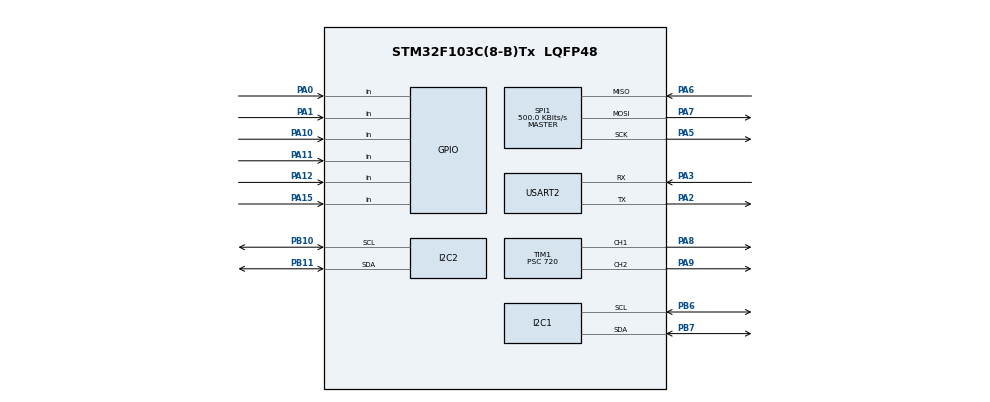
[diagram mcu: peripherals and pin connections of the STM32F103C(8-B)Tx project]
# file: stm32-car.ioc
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Dma.Request0=USART2_RX
Dma.USART2_RX.0.Direction=DMA_PERIPH_TO_MEMORY
Dma.USART2_RX.0.Instance=DMA1_Channel6
Dma.USART2_RX.0.MemDataAlignment=DMA_MDATAALIGN_BYTE
Dma.USART2_RX.0.MemInc=DMA_MINC_ENABLE
Dma.USART2_RX.0.Mode=DMA_NORMAL
Dma.USART2_RX.0.PeriphDataAlignment=DMA_PDATAALIGN_BYTE
Dma.USART2_RX.0.PeriphInc=DMA_PINC_DISABLE
Dma.USART2_RX.0.Priority=DMA_PRIORITY_LOW
Mcu.Family=STM32F1
Mcu.Name=STM32F103C(8-B)Tx
Mcu.Package=LQFP48
NVIC.DMA1_Channel6_IRQn=true\:0\:0\:false\:false\:true\:false\:true\:true
NVIC.PriorityGroup=NVIC_PRIORITYGROUP_4
NVIC.TIM1_BRK_IRQn=true\:0\:0\:false\:false\:true\:true\:true\:true
NVIC.TIM2_IRQn=true\:0\:0\:false\:false\:true\:true\:true\:true
NVIC.USART2_IRQn=true\:0\:0\:false\:false\:true\:true\:true\:true
PA0-WKUP.GPIO_PuPd=GPIO_PULLUP
PA0-WKUP.Signal=GPIO_Input
PA1.GPIO_PuPd=GPIO_PULLUP
PA1.Signal=GPIO_Input
PA10.Signal=GPIO_Input
PA11.Signal=GPIO_Input
PA12.Signal=GPIO_Input
PA13.Mode=Serial_Wire
PA13.Signal=SYS_JTMS-SWDIO
PA14.Mode=Serial_Wire
PA14.Signal=SYS_JTCK-SWCLK
PA15.Signal=GPIO_Input
PA2.Mode=Asynchronous
PA2.Signal=USART2_TX
PA3.Mode=Asynchronous
PA3.Signal=USART2_RX
PA5.Mode=Full_Duplex_Master
PA5.Signal=SPI1_SCK
PA6.Mode=Full_Duplex_Master
PA6.Signal=SPI1_MISO
PA7.Mode=Full_Duplex_Master
PA7.Signal=SPI1_MOSI
PA8.Signal=S_TIM1_CH1
PA9.Signal=S_TIM1_CH2
PB10.Mode=I2C
PB10.Signal=I2C2_SCL
PB11.Mode=I2C
PB11.Signal=I2C2_SDA
PB6.Mode=I2C
PB6.Signal=I2C1_SCL
PB7.Mode=I2C
PB7.Signal=I2C1_SDA
PD0-OSC_IN.Mode=HSE-External-Oscillator
PD0-OSC_IN.Signal=RCC_OSC_IN
PD1-OSC_OUT.Mode=HSE-External-Oscillator
PD1-OSC_OUT.Signal=RCC_OSC_OUT
ProjectManager.HeapSize=0x200
ProjectManager.StackSize=0x400
ProjectManager.TargetToolchain=STM32CubeIDE
RCC.APB1Freq_Value=8000000
RCC.APB2Freq_Value=8000000
SH.S_TIM1_CH1.0=TIM1_CH1,PWM Generation1 CH1
SH.S_TIM1_CH2.0=TIM1_CH2,PWM Generation2 CH2
SPI1.BaudRatePrescaler=SPI_BAUDRATEPRESCALER_16
SPI1.CalculateBaudRate=500.0 KBits/s
SPI1.Direction=SPI_DIRECTION_2LINES
SPI1.Mode=SPI_MODE_MASTER
SPI1.VirtualType=VM_MASTER
TIM1.Channel-PWM\ Generation1\ CH1=TIM_CHANNEL_1
TIM1.Channel-PWM\ Generation2\ CH2=TIM_CHANNEL_2
TIM1.Period=2000
TIM1.Prescaler=720
TIM2.Period=1000
TIM2.Prescaler=7200-1
USART2.VirtualMode=VM_ASYNC
VP_TIM1_VS_ClockSourceINT.Mode=Internal
VP_TIM2_VS_ClockSourceINT.Mode=Internal
board=custom

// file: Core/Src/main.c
/* USER CODE BEGIN Header */
/**
  ******************************************************************************
  * @file           : main.c
  * @brief          : Main program body
  ******************************************************************************
  * @attention
  *
  * Copyright (c) 2024 STMicroelectronics.
  * All rights reserved.
  *
  * This software is licensed under terms that can be found in the LICENSE file
  * in the root directory of this software component.
  * If no LICENSE file comes with this software, it is provided AS-IS.
  *
  ******************************************************************************
  */
/* USER CODE END Header */
#include "main.h"

/* USER CODE BEGIN Includes */
#include "stdio.h"
#include "rc522.h"
#include "lcd1602_i2c.h"
#include "string.h"
#include "stdlib.h"

/* USER CODE END Includes */

/* USER CODE BEGIN PTD */

unsigned char CardID[5];    // bien luu gia tri ID cua the RFID
char Send_UART[28];
//unsigned char MyID[8][5] = {{0x73, 0x35, 0xB2, 0x06, 0xF2},{0x53,0xC0,0xE1,0xAD,0XDF},{0x03,0x2F,0x76,0x94,0XCE},{0x73,0x86,0x7A,0xA7,0X28},
//{0x53,0x31,0x31,0x95,0XC6},{0xC3,0x95,0x6D,0x94,0XAF},{0x33,0x8E,0x93,0xA7,0X89},{0x83,0x28,0x8D,0xA7,0X81}};	  // luu ID cac the duoc dinh danh
//uint8_t location[10] = {0};

//uint16_t Count_Close = 0, check_card = 0,Count_Open = 0;     // bien check_card xem ID the co hop le khong

char buffer1[16];   // luu gia tri gio phut giay
char buffer2[16];   // luu gia tri ngay thang nam
char buffer4[2];
uint8_t Setup_Time[7];

/* USER CODE END PTD */

/* USER CODE BEGIN PD */

#define RX_SIZE 24
uint8_t receive_data[RX_SIZE] = {0};    // luu gia tri gui den
uint8_t size = 0;

/* USER CODE END PD */

I2C_HandleTypeDef hi2c1;
I2C_HandleTypeDef hi2c2;

SPI_HandleTypeDef hspi1;

TIM_HandleTypeDef htim1;
TIM_HandleTypeDef htim2;

UART_HandleTypeDef huart2;
DMA_HandleTypeDef hdma_usart2_rx;

void SystemClock_Config(void);
static void MX_GPIO_Init(void);
static void MX_DMA_Init(void);
static void MX_I2C1_Init(void);
static void MX_I2C2_Init(void);
static void MX_SPI1_Init(void);
static void MX_TIM1_Init(void);
static void MX_TIM2_Init(void);
static void MX_USART2_UART_Init(void);

/* USER CODE BEGIN 0 */

#define DS3231_ADDRESS 0xD0

uint8_t TIME_CLOSE = 0;

uint8_t decToBcd(int val)
{
  return (uint8_t)( (val/10*16) + (val%10) );
}
// Convert binary coded decimal to normal decimal numbers
int bcdToDec(uint8_t val)
{
  return (int)( (val/16*10) + (val%16) );
}

typedef struct{
	uint8_t seconds;
	uint8_t minutes;
	uint8_t hour;
	uint8_t dayofweek;
	uint8_t dayofmonth;
	uint8_t month;
	uint8_t year;
} TIME;

TIME time;

void Get_Time (void)  // ham lay gia tri thoi gian tu DS3231
{
	uint8_t get_time[7];
	HAL_I2C_Mem_Read(&hi2c2, DS3231_ADDRESS, 0x00, 1, get_time, 7, 1000);
	time.seconds = bcdToDec(get_time[0]);
	time.minutes = bcdToDec(get_time[1]);
	time.hour = bcdToDec(get_time[2]);
	time.dayofweek = bcdToDec(get_time[3]);
	time.dayofmonth = bcdToDec(get_time[4]);
	time.month = bcdToDec(get_time[5]);
	time.year = bcdToDec(get_time[6]);
}

// ham setup gia tri ngay thang nam (fix cung)
void Set_Time (uint8_t sec, uint8_t min, uint8_t hour, uint8_t dow, uint8_t dom, uint8_t month, uint8_t year)
{
	uint8_t set_time[7];
	set_time[0] = decToBcd(sec);
	set_time[1] = decToBcd(min);
	set_time[2] = decToBcd(hour);
	set_time[3] = decToBcd(dow);
	set_time[4] = decToBcd(dom);
	set_time[5] = decToBcd(month);
	set_time[6] = decToBcd(year);

	HAL_I2C_Mem_Write(&hi2c2, DS3231_ADDRESS, 0x00, 1, set_time, 7, 1000);

}

uint8_t MFRC522_Check(uint8_t* id);
uint8_t MFRC522_Compare(uint8_t* CardID, uint8_t* CompareID);
void MFRC522_WriteRegister(uint8_t addr, uint8_t val);
uint8_t MFRC522_ReadRegister(uint8_t addr);
void MFRC522_SetBitMask(uint8_t reg, uint8_t mask);
void MFRC522_ClearBitMask(uint8_t reg, uint8_t mask);
uint8_t MFRC522_Request(uint8_t reqMode, uint8_t* TagType);
uint8_t MFRC522_ToCard(uint8_t command, uint8_t* sendData, uint8_t sendLen, uint8_t* backData, uint16_t* backLen);
uint8_t MFRC522_Anticoll(uint8_t* serNum);
void MFRC522_CalulateCRC(uint8_t* pIndata, uint8_t len, uint8_t* pOutData);
uint8_t MFRC522_SelectTag(uint8_t* serNum);
uint8_t MFRC522_Auth(uint8_t authMode, uint8_t BlockAddr, uint8_t* Sectorkey, uint8_t* serNum);
uint8_t MFRC522_Read(uint8_t blockAddr, uint8_t* recvData);
uint8_t MFRC522_Write(uint8_t blockAddr, uint8_t* writeData);
void MFRC522_Init(void);
void MFRC522_Reset(void);
void MFRC522_AntennaOn(void);
void MFRC522_AntennaOff(void);
void MFRC522_Halt(void);

void Set_Time_UART(char* str);
void RESET_CardID(void);
void Display_Time(void);
void Set_Barrier();
void Check_CardID_IN(void);
void Check_CardID_OUT(void);
void Check_CardID_OUT(void);
void SET_TIME_CLOSE(char* str);
void Cal_money(void);
void Check_Car_In(void);

/* USER CODE END 0 */

int main(void)
{

  /* MCU Configuration--------------------------------------------------------*/

  /* Reset of all peripherals, Initializes the Flash interface and the Systick. */
  HAL_Init();

  /* Configure the system clock */
  SystemClock_Config();

  /* Initialize all configured peripherals */
  MX_GPIO_Init();
  MX_DMA_Init();
  MX_I2C1_Init();
  MX_I2C2_Init();
  MX_SPI1_Init();
  MX_TIM1_Init();
  MX_TIM2_Init();
  MX_USART2_UART_Init();
  /* USER CODE BEGIN 2 */

MFRC522_Init();

	HAL_TIM_PWM_Start(&htim1,TIM_CHANNEL_1);
	HAL_TIM_PWM_Start(&htim1,TIM_CHANNEL_2);
	HAL_TIM_Base_Start_IT(&htim2);
	LCD1602_Init(&hi2c1);
	LCD1602_SetFunction(BACKLIGHT_ON);

	HAL_UARTEx_ReceiveToIdle_DMA(&huart2, receive_data, RX_SIZE);
	__HAL_DMA_DISABLE_IT(&hdma_usart2_rx, DMA_IT_HT);

	HAL_UART_Receive_DMA(&huart2,receive_data,24);

	LCD1602_SetCursor(0, 0);
	LCD1602_SendString(" CHECK CARD ID");

	HAL_Delay(500);
	uwTick = 0;

  /* USER CODE END 2 */

  /* Infinite loop */
  while (1)
  {

    /* USER CODE BEGIN 3 */
//		Get_Time();
//		Display_Time();
		if(HAL_GPIO_ReadPin(GPIOA,GPIO_PIN_0) == 0){
			Set_Barrier();
			Check_CardID_IN();

		}
		if(HAL_GPIO_ReadPin(GPIOA,GPIO_PIN_0) == 1){
			Set_Barrier();
			Check_CardID_OUT();

		}

//		Close_Barrier(TIME_CLOSE);
  }
  /* USER CODE END 3 */
}

void SystemClock_Config(void)
{
  RCC_OscInitTypeDef RCC_OscInitStruct = {0};
  RCC_ClkInitTypeDef RCC_ClkInitStruct = {0};

  /** Initializes the RCC Oscillators according to the specified parameters
  * in the RCC_OscInitTypeDef structure.
  */
  RCC_OscInitStruct.OscillatorType = RCC_OSCILLATORTYPE_HSI;
  RCC_OscInitStruct.HSIState = RCC_HSI_ON;
  RCC_OscInitStruct.HSICalibrationValue = RCC_HSICALIBRATION_DEFAULT;
  RCC_OscInitStruct.PLL.PLLState = RCC_PLL_NONE;
  if (HAL_RCC_OscConfig(&RCC_OscInitStruct) != HAL_OK)
  {
    Error_Handler();
  }

  /** Initializes the CPU, AHB and APB buses clocks
  */
  RCC_ClkInitStruct.ClockType = RCC_CLOCKTYPE_HCLK|RCC_CLOCKTYPE_SYSCLK
                              |RCC_CLOCKTYPE_PCLK1|RCC_CLOCKTYPE_PCLK2;
  RCC_ClkInitStruct.SYSCLKSource = RCC_SYSCLKSOURCE_HSI;
  RCC_ClkInitStruct.AHBCLKDivider = RCC_SYSCLK_DIV1;
  RCC_ClkInitStruct.APB1CLKDivider = RCC_HCLK_DIV1;
  RCC_ClkInitStruct.APB2CLKDivider = RCC_HCLK_DIV1;

  if (HAL_RCC_ClockConfig(&RCC_ClkInitStruct, FLASH_LATENCY_0) != HAL_OK)
  {
    Error_Handler();
  }
}

static void MX_I2C1_Init(void)
{

  hi2c1.Instance = I2C1;
  hi2c1.Init.ClockSpeed = 100000;
  hi2c1.Init.DutyCycle = I2C_DUTYCYCLE_2;
  hi2c1.Init.OwnAddress1 = 0;
  hi2c1.Init.AddressingMode = I2C_ADDRESSINGMODE_7BIT;
  hi2c1.Init.DualAddressMode = I2C_DUALADDRESS_DISABLE;
  hi2c1.Init.OwnAddress2 = 0;
  hi2c1.Init.GeneralCallMode = I2C_GENERALCALL_DISABLE;
  hi2c1.Init.NoStretchMode = I2C_NOSTRETCH_DISABLE;
  if (HAL_I2C_Init(&hi2c1) != HAL_OK)
  {
    Error_Handler();
  }

}

static void MX_I2C2_Init(void)
{

  hi2c2.Instance = I2C2;
  hi2c2.Init.ClockSpeed = 100000;
  hi2c2.Init.DutyCycle = I2C_DUTYCYCLE_2;
  hi2c2.Init.OwnAddress1 = 0;
  hi2c2.Init.AddressingMode = I2C_ADDRESSINGMODE_7BIT;
  hi2c2.Init.DualAddressMode = I2C_DUALADDRESS_DISABLE;
  hi2c2.Init.OwnAddress2 = 0;
  hi2c2.Init.GeneralCallMode = I2C_GENERALCALL_DISABLE;
  hi2c2.Init.NoStretchMode = I2C_NOSTRETCH_DISABLE;
  if (HAL_I2C_Init(&hi2c2) != HAL_OK)
  {
    Error_Handler();
  }

}

static void MX_SPI1_Init(void)
{

  /* SPI1 parameter configuration*/
  hspi1.Instance = SPI1;
  hspi1.Init.Mode = SPI_MODE_MASTER;
  hspi1.Init.Direction = SPI_DIRECTION_2LINES;
  hspi1.Init.DataSize = SPI_DATASIZE_8BIT;
  hspi1.Init.CLKPolarity = SPI_POLARITY_LOW;
  hspi1.Init.CLKPhase = SPI_PHASE_1EDGE;
  hspi1.Init.NSS = SPI_NSS_SOFT;
  hspi1.Init.BaudRatePrescaler = SPI_BAUDRATEPRESCALER_16;
  hspi1.Init.FirstBit = SPI_FIRSTBIT_MSB;
  hspi1.Init.TIMode = SPI_TIMODE_DISABLE;
  hspi1.Init.CRCCalculation = SPI_CRCCALCULATION_DISABLE;
  hspi1.Init.CRCPolynomial = 10;
  if (HAL_SPI_Init(&hspi1) != HAL_OK)
  {
    Error_Handler();
  }

}

static void MX_TIM1_Init(void)
{

  TIM_ClockConfigTypeDef sClockSourceConfig = {0};
  TIM_MasterConfigTypeDef sMasterConfig = {0};
  TIM_OC_InitTypeDef sConfigOC = {0};
  TIM_BreakDeadTimeConfigTypeDef sBreakDeadTimeConfig = {0};

  htim1.Instance = TIM1;
  htim1.Init.Prescaler = 720;
  htim1.Init.CounterMode = TIM_COUNTERMODE_UP;
  htim1.Init.Period = 2000;
  htim1.Init.ClockDivision = TIM_CLOCKDIVISION_DIV1;
  htim1.Init.RepetitionCounter = 0;
  htim1.Init.AutoReloadPreload = TIM_AUTORELOAD_PRELOAD_DISABLE;
  if (HAL_TIM_Base_Init(&htim1) != HAL_OK)
  {
    Error_Handler();
  }
  sClockSourceConfig.ClockSource = TIM_CLOCKSOURCE_INTERNAL;
  if (HAL_TIM_ConfigClockSource(&htim1, &sClockSourceConfig) != HAL_OK)
  {
    Error_Handler();
  }
  if (HAL_TIM_PWM_Init(&htim1) != HAL_OK)
  {
    Error_Handler();
  }
  sMasterConfig.MasterOutputTrigger = TIM_TRGO_RESET;
  sMasterConfig.MasterSlaveMode = TIM_MASTERSLAVEMODE_DISABLE;
  if (HAL_TIMEx_MasterConfigSynchronization(&htim1, &sMasterConfig) != HAL_OK)
  {
    Error_Handler();
  }
  sConfigOC.OCMode = TIM_OCMODE_PWM1;
  sConfigOC.Pulse = 0;
  sConfigOC.OCPolarity = TIM_OCPOLARITY_HIGH;
  sConfigOC.OCNPolarity = TIM_OCNPOLARITY_HIGH;
  sConfigOC.OCFastMode = TIM_OCFAST_DISABLE;
  sConfigOC.OCIdleState = TIM_OCIDLESTATE_RESET;
  sConfigOC.OCNIdleState = TIM_OCNIDLESTATE_RESET;
  if (HAL_TIM_PWM_ConfigChannel(&htim1, &sConfigOC, TIM_CHANNEL_1) != HAL_OK)
  {
    Error_Handler();
  }
  if (HAL_TIM_PWM_ConfigChannel(&htim1, &sConfigOC, TIM_CHANNEL_2) != HAL_OK)
  {
    Error_Handler();
  }
  sBreakDeadTimeConfig.OffStateRunMode = TIM_OSSR_DISABLE;
  sBreakDeadTimeConfig.OffStateIDLEMode = TIM_OSSI_DISABLE;
  sBreakDeadTimeConfig.LockLevel = TIM_LOCKLEVEL_OFF;
  sBreakDeadTimeConfig.DeadTime = 0;
  sBreakDeadTimeConfig.BreakState = TIM_BREAK_DISABLE;
  sBreakDeadTimeConfig.BreakPolarity = TIM_BREAKPOLARITY_HIGH;
  sBreakDeadTimeConfig.AutomaticOutput = TIM_AUTOMATICOUTPUT_DISABLE;
  if (HAL_TIMEx_ConfigBreakDeadTime(&htim1, &sBreakDeadTimeConfig) != HAL_OK)
  {
    Error_Handler();
  }
  HAL_TIM_MspPostInit(&htim1);

}

static void MX_TIM2_Init(void)
{

  TIM_ClockConfigTypeDef sClockSourceConfig = {0};
  TIM_MasterConfigTypeDef sMasterConfig = {0};

  htim2.Instance = TIM2;
  htim2.Init.Prescaler = 7200-1;
  htim2.Init.CounterMode = TIM_COUNTERMODE_UP;
  htim2.Init.Period = 1000;
  htim2.Init.ClockDivision = TIM_CLOCKDIVISION_DIV1;
  htim2.Init.AutoReloadPreload = TIM_AUTORELOAD_PRELOAD_DISABLE;
  if (HAL_TIM_Base_Init(&htim2) != HAL_OK)
  {
    Error_Handler();
  }
  sClockSourceConfig.ClockSource = TIM_CLOCKSOURCE_INTERNAL;
  if (HAL_TIM_ConfigClockSource(&htim2, &sClockSourceConfig) != HAL_OK)
  {
    Error_Handler();
  }
  sMasterConfig.MasterOutputTrigger = TIM_TRGO_RESET;
  sMasterConfig.MasterSlaveMode = TIM_MASTERSLAVEMODE_DISABLE;
  if (HAL_TIMEx_MasterConfigSynchronization(&htim2, &sMasterConfig) != HAL_OK)
  {
    Error_Handler();
  }

}

static void MX_USART2_UART_Init(void)
{

  huart2.Instance = USART2;
  huart2.Init.BaudRate = 115200;
  huart2.Init.WordLength = UART_WORDLENGTH_8B;
  huart2.Init.StopBits = UART_STOPBITS_1;
  huart2.Init.Parity = UART_PARITY_NONE;
  huart2.Init.Mode = UART_MODE_TX_RX;
  huart2.Init.HwFlowCtl = UART_HWCONTROL_NONE;
  huart2.Init.OverSampling = UART_OVERSAMPLING_16;
  if (HAL_UART_Init(&huart2) != HAL_OK)
  {
    Error_Handler();
  }

}

static void MX_DMA_Init(void)
{

  /* DMA controller clock enable */
  __HAL_RCC_DMA1_CLK_ENABLE();

  /* DMA interrupt init */
  /* DMA1_Channel6_IRQn interrupt configuration */
  HAL_NVIC_SetPriority(DMA1_Channel6_IRQn, 0, 0);
  HAL_NVIC_EnableIRQ(DMA1_Channel6_IRQn);

}

static void MX_GPIO_Init(void)
{
  GPIO_InitTypeDef GPIO_InitStruct = {0};

  /* GPIO Ports Clock Enable */
  __HAL_RCC_GPIOD_CLK_ENABLE();
  __HAL_RCC_GPIOA_CLK_ENABLE();
  __HAL_RCC_GPIOB_CLK_ENABLE();

  /*Configure GPIO pins : PA0 PA1 */
  GPIO_InitStruct.Pin = GPIO_PIN_0|GPIO_PIN_1;
  GPIO_InitStruct.Mode = GPIO_MODE_INPUT;
  GPIO_InitStruct.Pull = GPIO_PULLUP;
  HAL_GPIO_Init(GPIOA, &GPIO_InitStruct);

  /*Configure GPIO pins : PA10 PA11 PA12 PA15 */
  GPIO_InitStruct.Pin = GPIO_PIN_10|GPIO_PIN_11|GPIO_PIN_12|GPIO_PIN_15;
  GPIO_InitStruct.Mode = GPIO_MODE_INPUT;
  GPIO_InitStruct.Pull = GPIO_NOPULL;
  HAL_GPIO_Init(GPIOA, &GPIO_InitStruct);

}

/* USER CODE BEGIN 4 */

void Check_CardID_IN(void)
{
	LCD1602_SetCursor(0, 1);
	LCD1602_SendString("CAR IN");
	if (MFRC522_Check(CardID) == MI_OK)
		{
			strcpy(Send_UART, "IN:");
			for(uint8_t i = 0; i<4; i++){
				sprintf(Send_UART + strlen(Send_UART),"%02x", CardID[i]);
			}
			for(int i = 0; i < 14; i++){
				if(Send_UART[i]>96 && Send_UART[i]<123){
					Send_UART[i]-=32;
				}
			}
			HAL_UART_Transmit_IT(&huart2,Send_UART,12);
			receive_data[0] = 0x00;
			Check_Car_In();
			RESET_CardID();
			HAL_Delay(2000);
		}
}

void Check_CardID_OUT(void)
{
	LCD1602_SetCursor(0, 1);
	LCD1602_SendString("     CAR OUT    ");
	if (MFRC522_Check(CardID) == MI_OK)
		{
			strcpy(Send_UART, "OUT:");
			for(uint8_t i = 0; i<4; i++){
				sprintf(Send_UART + strlen(Send_UART),"%02x", CardID[i]);
			}
			for(int i = 0; i < 14; i++){
				if(Send_UART[i]>96 && Send_UART[i]<123){
					Send_UART[i]-=32;
				}
			}
			HAL_UART_Transmit_IT(&huart2,Send_UART,11);
			receive_data[0] = 0x00;
			Cal_money();
			RESET_CardID();
			HAL_Delay(2000);
		}
}

void Set_Time_UART(char* str)
{
	strncpy(buffer4, str+1, 2 );
	Setup_Time[6] = (uint8_t)atoi(buffer4);
	strncpy(buffer4, str+4, 2 );
	Setup_Time[5] = (uint8_t)atoi(buffer4);
	strncpy(buffer4, str+7, 2 );
	Setup_Time[4] = (uint8_t)atoi(buffer4);
	strncpy(buffer4, str+10, 2 );
	Setup_Time[3] = (uint8_t)atoi(buffer4);
	strncpy(buffer4, str+13, 2 );
	Setup_Time[2] = (uint8_t)atoi(buffer4);
	strncpy(buffer4, str+16, 2 );
	Setup_Time[1] = (uint8_t)atoi(buffer4);
	strncpy(buffer4, str+19, 2 );
	Setup_Time[0] = (uint8_t)atoi(buffer4);
	strncpy(buffer4, str+22, 2 );
	TIME_CLOSE = (uint8_t)atoi(buffer4);
	Set_Time(Setup_Time[0],Setup_Time[1],Setup_Time[2],Setup_Time[3],Setup_Time[4],Setup_Time[5],Setup_Time[6]);
	receive_data[0] = 0x00;

}

void Display_Time(void)
{
	sprintf(buffer1 ,"TIME: %02d:%02d:%02d", time.hour, time.minutes, time.seconds);
	LCD1602_SetCursor(0,1);
	LCD1602_SendString(buffer1);

//	sprintf(buffer2 ,"\nDATE: %02d-%02d-%02d\n", time.dayofmonth, time.month, time.year);
//	LCD1602_SetCursor(0,1);
//	LCD1602_SendString(buffer2+1);
}

void RESET_CardID(void)   // RESET cac phan tu trong mang CardID
{
	for(uint8_t i = 0; i < 5; i++)
	{
		CardID[i] = 0x00;
	}
}

void Set_Barrier()
{
	if(HAL_GPIO_ReadPin(GPIOA,GPIO_PIN_0)==1){
		__HAL_TIM_SET_COMPARE(&htim1,TIM_CHANNEL_1,100);
		__HAL_TIM_SET_COMPARE(&htim1,TIM_CHANNEL_2,200);
	}
	if(HAL_GPIO_ReadPin(GPIOA,GPIO_PIN_0)==0){
		__HAL_TIM_SET_COMPARE(&htim1,TIM_CHANNEL_1,200);
		__HAL_TIM_SET_COMPARE(&htim1,TIM_CHANNEL_2,100);
	}
}

void Cal_money(void)
{
	LCD1602_SetFunction(CLEAR_DISPLAY);
	LCD1602_SetCursor(0,0);
	LCD1602_SendString(" WAITTING....");
	uint16_t delayTime = 10;
	while(receive_data[0] == 0)
	{
		HAL_Delay(10);
		delayTime+=10;
		if(delayTime>7000){
			break;
		}
	}
	if(receive_data[0] =='M'){
		uint32_t money = 0;
		uint8_t i = 10, Time_IN[3] = {0};
		strncpy(buffer4, (char*)receive_data+1, 2 );
		Time_IN[0] = (uint8_t)atoi(buffer4);
		strncpy(buffer4, (char*)receive_data+4, 2 );
		Time_IN[1] = (uint8_t)atoi(buffer4);
		strncpy(buffer4, (char*)receive_data+7, 2 );
		Time_IN[2] = (uint8_t)atoi(buffer4);

		while(receive_data[i]!='E'){
			money = money*10 + (receive_data[i]-48);
			i++;

		}
		memset(buffer1,0x00,16);
		LCD1602_SetFunction(CLEAR_DISPLAY);
		sprintf(buffer1 ,"  IN:%02d:%02d:%02d", Time_IN[0], Time_IN[1], Time_IN[2]);
		LCD1602_SetCursor(0,0);
		LCD1602_SendString(buffer1);
		memset(buffer1,0x00,16);
		sprintf(buffer1 ,"TOTAL: %ld", money);
		LCD1602_SetCursor(0,1);
		LCD1602_SendString(buffer1);
		while(HAL_GPIO_ReadPin(GPIOA,GPIO_PIN_1) == 1){
			HAL_Delay(20);
		}
		__HAL_TIM_SET_COMPARE(&htim1,TIM_CHANNEL_2,100);// mo barrier 2 cho xe ra
		HAL_Delay(5000); // thoi gian xe ra ngoai
		while(HAL_GPIO_ReadPin(GPIOA,GPIO_PIN_10) == 0||HAL_GPIO_ReadPin(GPIOA,GPIO_PIN_11) == 0){
			HAL_Delay(100);
		}
		__HAL_TIM_SET_COMPARE(&htim1,TIM_CHANNEL_2,200);//khong con xe thi dong barrier 2
		memset(receive_data,0x00,24);
	} else if (receive_data[0] =='N') {
		sprintf(buffer1 ," NOT FOUND CARD");
		LCD1602_SetCursor(0,0);
		LCD1602_SendString(buffer1);
		HAL_Delay(3000);
		memset(receive_data,0x00,24);
	} else if (receive_data[0] =='F') {
		sprintf(buffer1 ,"FORBIDDEN!");
		LCD1602_SetCursor(0,0);
		LCD1602_SendString(buffer1);
		HAL_Delay(3000);
		memset(receive_data,0x00,24);
	}  else if (receive_data[0] =='C') {
		sprintf(buffer1 ,"CONFLICT");
		LCD1602_SetCursor(0,0);
		LCD1602_SendString(buffer1);
		HAL_Delay(3000);
		memset(receive_data,0x00,24);
	}  else if (receive_data[0] =='U') {
		sprintf(buffer1 ,"UNAUTHORIZED");
		LCD1602_SetCursor(0,0);
		LCD1602_SendString(buffer1);
		HAL_Delay(3000);
		memset(receive_data,0x00,24);
	} else {
		sprintf(buffer1 ,"TIME OUT");
		LCD1602_SetCursor(0,0);
		LCD1602_SendString(buffer1);
		sprintf(buffer1 ,"PLEASE RECHECK");
		LCD1602_SetCursor(0,1);
		LCD1602_SendString(buffer1);
		HAL_Delay(3000);
		memset(receive_data,0x00,24);
	}
	receive_data[0] = 0x00;
	LCD1602_SetFunction(CLEAR_DISPLAY);
	LCD1602_SetCursor(0, 0);
	LCD1602_SendString(" CHECK CARD ID");
}

void Check_Car_In(void){
	LCD1602_SetFunction(CLEAR_DISPLAY);
	LCD1602_SetCursor(0,0);
	LCD1602_SendString(" WAITTING....");

	uint16_t delayTime = 10;
	while(receive_data[0] == 0)
	{
		HAL_Delay(10);
		delayTime+=10;
		if(delayTime>7000){
			break;
		}
	}
	if(receive_data[0] =='L'){
		char location[5] = {0};
		for(uint8_t i = 9; i < 14; i++){
			location[i-9] = receive_data[i];
		}
		LCD1602_SetFunction(CLEAR_DISPLAY);
		LCD1602_SetCursor(2,0);
		LCD1602_SendString("LOCATION CAR");
		LCD1602_SetCursor(6,1);
		LCD1602_SendString(location);
		__HAL_TIM_SET_COMPARE(&htim1,TIM_CHANNEL_1,100);//mo barrier 1 cho xe vao
		HAL_Delay(5000);  // thoi gian xe di qua barrier
		while(HAL_GPIO_ReadPin(GPIOA,GPIO_PIN_12) == 0||HAL_GPIO_ReadPin(GPIOA,GPIO_PIN_11) == 0){
			HAL_Delay(100);
		}
		__HAL_TIM_SET_COMPARE(&htim1,TIM_CHANNEL_1,200);// khi khong con xe dong barrier 1
		memset(receive_data,0x00,24);
	} else if (receive_data[0] =='N') {
		sprintf(buffer1 ," NOT FOUND CARD");
		LCD1602_SetCursor(0,0);
		LCD1602_SendString(buffer1);
		HAL_Delay(3000);
		memset(receive_data,0x00,24);
	} else if (receive_data[0] =='F') {
		sprintf(buffer1 ,"FORBIDDEN!");
		LCD1602_SetCursor(0,0);
		LCD1602_SendString(buffer1);
		HAL_Delay(3000);
		memset(receive_data,0x00,24);
	}  else if (receive_data[0] =='C') {
		sprintf(buffer1 ,"CONFLICT");
		LCD1602_SetCursor(0,0);
		LCD1602_SendString(buffer1);
		HAL_Delay(3000);
		memset(receive_data,0x00,24);
	}  else if (receive_data[0] =='U') {
		sprintf(buffer1 ,"UNAUTHORIZED");
		LCD1602_SetCursor(0,0);
		LCD1602_SendString(buffer1);
		HAL_Delay(3000);
		memset(receive_data,0x00,24);
	} else {
		sprintf(buffer1 ,"TIME OUT");
		LCD1602_SetCursor(0,0);
		LCD1602_SendString(buffer1);
		sprintf(buffer1 ,"PLEASE RECHECK");
		LCD1602_SetCursor(0,1);
		LCD1602_SendString(buffer1);
		HAL_Delay(3000);
		memset(receive_data,0x00,24);
	}
	receive_data[0] = 0x00;
	LCD1602_SetFunction(CLEAR_DISPLAY);
	LCD1602_SetCursor(0, 0);
	LCD1602_SendString(" CHECK CARD ID");
}

//void HAL_TIM_PeriodElapsedCallback(TIM_HandleTypeDef *htim)    // thoi gian ngat la 100ms
//{
//	if(htim->Instance == htim2.Instance)
//	{
//		if(HAL_GPIO_ReadPin(GPIOA,GPIO_PIN_0) == 0){
//			Count_Open = 1;
//			__HAL_TIM_SET_COMPARE(&htim1,TIM_CHANNEL_2,100);
//		}
//		if(Count_Close > 0)
//			Count_Close++;
//		if(Count_Open >0)
//			Count_Open++;
//		if(receive_data[0] =='T')
//		{
//			Set_Time_UART((char*)receive_data);
//		}
//	}
//
//}

void HAL_UARTEx_RxEventCallback(UART_HandleTypeDef *huart, uint16_t Size)
{
    HAL_UARTEx_ReceiveToIdle_DMA(&huart2, receive_data, RX_SIZE);
    size = Size;
}

/* USER CODE END 4 */

void Error_Handler(void)
{
  __disable_irq();
  while (1)
  {
  }
}
